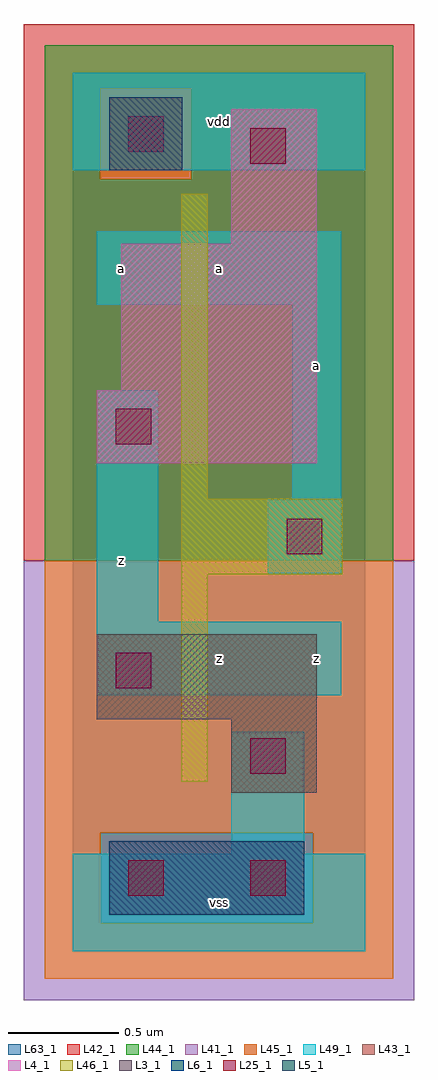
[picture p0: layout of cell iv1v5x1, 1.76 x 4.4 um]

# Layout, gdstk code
import gdstk
lib = gdstk.Library(unit=1e-6, precision=1e-09)
def R(c, l, rs):  # rectangles x0, y0, x1, y1
    for r in rs: c.add(gdstk.rectangle(r[:2], r[2:], *l))
L3_1 = (3, 1)
L4_1 = (4, 1)
L5_1 = (5, 1)
L6_1 = (6, 1)
L25_1 = (25, 1)
L41_1 = (41, 1)
L42_1 = (42, 1)
L43_1 = (43, 1)
L44_1 = (44, 1)
L45_1 = (45, 1)
L46_1 = (46, 1)
L49_1 = (49, 1)
L63_1 = (63, 1)

iv1v5x1 = lib.new_cell('iv1v5x1')
R(iv1v5x1, L3_1, [(0.715,0.715,1.1,1.045), (0.11,1.045,1.1,1.43)])
R(iv1v5x1, L4_1, [(0.11,2.2,1.1,2.53), (0.22,2.53,1.1,3.19), (0.715,3.19,1.1,3.795)])
R(iv1v5x1, L5_1, [(0.165,3.52,0.495,3.85)])
R(iv1v5x1, L6_1, [(0.165,0.165,1.045,0.495)])
R(iv1v5x1, L25_1, [(0.25,0.25,0.41,0.41), (0.8,0.25,0.96,0.41), (0.8,0.8,0.96,0.96), (0.195,1.185,0.355,1.345), (0.965,1.79,1.125,1.95), (0.195,2.285,0.355,2.445), (0.8,3.55,0.96,3.71), (0.25,3.605,0.41,3.765)])
R(iv1v5x1, L41_1, [(-0.22,-0.22,1.54,1.76)])
R(iv1v5x1, L42_1, [(-0.22,1.76,1.54,4.18)])
R(iv1v5x1, L43_1, [(0.165,0.165,1.045,0.495), (0.715,0.715,1.1,1.045), (0.11,1.045,1.1,1.43), (0.11,2.2,1.1,2.53), (0.22,2.53,1.1,3.19), (0.715,3.19,1.1,3.795), (0.165,3.52,0.495,3.85)])
R(iv1v5x1, L44_1, [(0.125,0.125,1.085,0.535), (-0.125,1.76,1.445,3.48), (-0.125,3.48,0.125,3.89), (0.535,3.48,1.445,3.89), (-0.125,3.89,1.445,4.085)])
R(iv1v5x1, L45_1, [(-0.125,-0.125,1.445,0.125), (-0.125,0.125,0.125,0.535), (1.085,0.125,1.445,0.535), (-0.125,0.535,1.445,1.76), (0.125,3.48,0.535,3.89)])
R(iv1v5x1, L46_1, [(0.49,0.765,0.61,1.7), (0.49,1.7,1.215,2.04), (0.49,2.04,0.61,3.415)])
R(iv1v5x1, L49_1, [(0,0,1.32,0.44), (0.715,0.44,1.045,0.99), (0.11,1.155,1.21,1.485), (0.11,1.485,0.385,2.53), (0.88,1.705,1.21,2.035), (0.99,2.035,1.21,2.915), (0.11,2.915,1.21,3.245), (0,3.52,1.32,3.96)])
R(iv1v5x1, L63_1, [(0,0,1.32,3.96)])
iv1v5x1.add(gdstk.Label('z', (0.22,1.76), layer=49, texttype=1))
iv1v5x1.add(gdstk.Label('a', (0.22,3.08), layer=49, texttype=1))
iv1v5x1.add(gdstk.Label('vss', (0.66,0.22), layer=49, texttype=1))
iv1v5x1.add(gdstk.Label('z', (0.66,1.32), layer=49, texttype=1))
iv1v5x1.add(gdstk.Label('a', (0.66,3.08), layer=49, texttype=1))
iv1v5x1.add(gdstk.Label('vdd', (0.66,3.74), layer=49, texttype=1))
iv1v5x1.add(gdstk.Label('z', (1.1,1.32), layer=49, texttype=1))
iv1v5x1.add(gdstk.Label('a', (1.1,2.64), layer=49, texttype=1))

lib.write_gds('iv1v5x1.gds')
